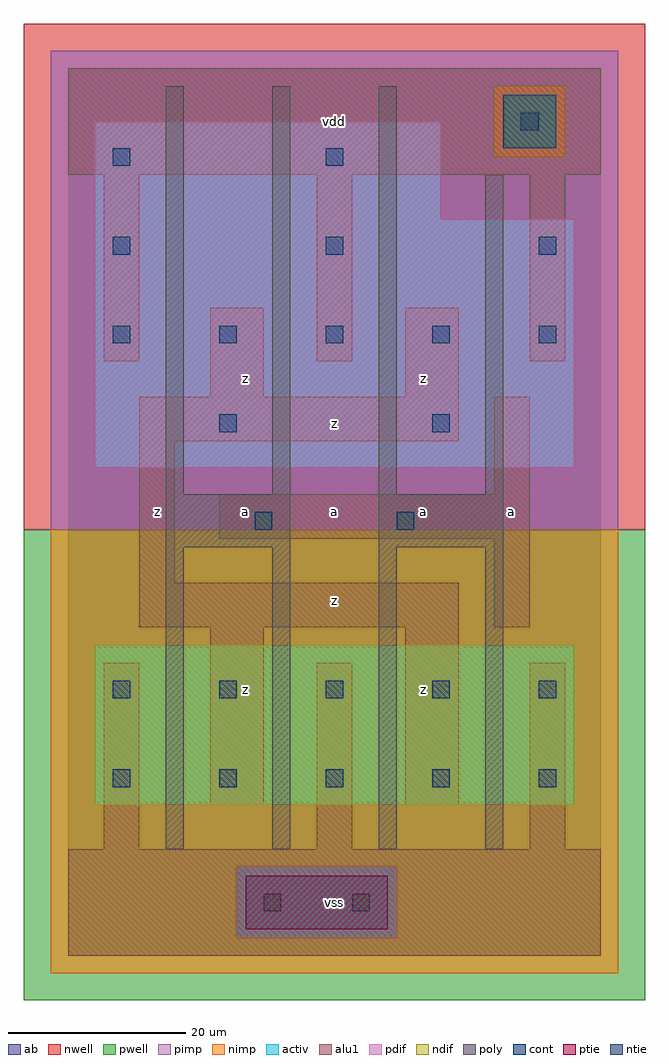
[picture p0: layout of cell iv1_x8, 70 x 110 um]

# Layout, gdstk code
import gdstk
lib = gdstk.Library(unit=1e-6, precision=1e-09)
def R(c, l, rs):  # rectangles x0, y0, x1, y1
    for r in rs: c.add(gdstk.rectangle(r[:2], r[2:], *l))
def A(c, l, x, y, w, h, nx, ny, dx, dy):  # array of equal rectangles
    R(c, l, [(x+i*dx, y+j*dy, x+i*dx+w, y+j*dy+h) for i in range(nx) for j in range(ny)])
ndif = (3, 0)
pdif = (4, 0)
ntie = (5, 0)
ptie = (6, 0)
cont = (25, 0)
pwell = (41, 0)
nwell = (42, 0)
activ = (43, 0)
pimp = (44, 0)
nimp = (45, 0)
poly = (46, 0)
alu1 = (49, 0)
ab = (63, 0)

iv1_x8 = lib.new_cell('iv1_x8')
R(iv1_x8, ndif, [(3,17,57,35)])
R(iv1_x8, pdif, [(3,55,57,83), (3,83,42,94)])
R(iv1_x8, ntie, [(49,91,55,97)])
R(iv1_x8, ptie, [(20,3,36,9)])
A(iv1_x8, cont, 5, 19, 2, 2, 5, 2, 12, 10)
A(iv1_x8, cont, 5, 69, 2, 2, 5, 1, 12, 0)
A(iv1_x8, cont, 5, 79, 2, 2, 3, 1, 24, 0)
R(iv1_x8, cont, [(22,5,24,7), (32,5,34,7), (21,48,23,50), (37,48,39,50), (17,59,19,61), (41,59,43,61), (5,89,7,91), (29,89,31,91), (51,93,53,95)])
R(iv1_x8, pwell, [(-5,-5,65,48)])
R(iv1_x8, nwell, [(-5,48,65,105)])
R(iv1_x8, activ, [(20,3,36,9), (3,17,57,35), (3,55,57,83), (3,83,42,94), (49,91,55,97)])
R(iv1_x8, pimp, [(19,2,37,10), (-2,48,62,90), (-2,90,48,98), (56,90,62,98), (-2,98,62,102)])
R(iv1_x8, nimp, [(-2,-2,62,2), (-2,2,19,10), (37,2,62,10), (-2,10,62,48), (48,90,56,98)])
A(iv1_x8, poly, 11, 12, 2, 34, 4, 1, 12, 0)
A(iv1_x8, poly, 11, 52, 2, 46, 3, 1, 12, 0)
R(iv1_x8, poly, [(11,46,25,52), (35,46,49,52), (47,52,49,88)])
A(iv1_x8, alu1, 4, 12, 4, 21, 3, 2, 24, 55)
R(iv1_x8, alu1, [(0,0,60,12), (16,17,22,37), (38,17,44,37), (8,37,44,42), (48,37,52,47), (8,42,12,58), (17,47,52,52), (48,52,52,63), (8,58,44,63), (16,63,22,73), (38,63,44,73), (0,88,60,100)])
R(iv1_x8, ab, [(0,0,60,100)])
iv1_x8.add(gdstk.Label('z', (10,50), layer=49, texttype=0))
iv1_x8.add(gdstk.Label('z', (20,30), layer=49, texttype=0))
iv1_x8.add(gdstk.Label('a', (20,50), layer=49, texttype=0))
iv1_x8.add(gdstk.Label('z', (20,65), layer=49, texttype=0))
iv1_x8.add(gdstk.Label('vss', (30,6), layer=49, texttype=0))
iv1_x8.add(gdstk.Label('z', (30,40), layer=49, texttype=0))
iv1_x8.add(gdstk.Label('z', (40,30), layer=49, texttype=0))
iv1_x8.add(gdstk.Label('a', (40,50), layer=49, texttype=0))
iv1_x8.add(gdstk.Label('a', (30,50), layer=49, texttype=0))
iv1_x8.add(gdstk.Label('z', (30,60), layer=49, texttype=0))
iv1_x8.add(gdstk.Label('z', (40,65), layer=49, texttype=0))
iv1_x8.add(gdstk.Label('vdd', (30,94), layer=49, texttype=0))
iv1_x8.add(gdstk.Label('a', (50,50), layer=49, texttype=0))

lib.write_gds('iv1_x8.gds')
